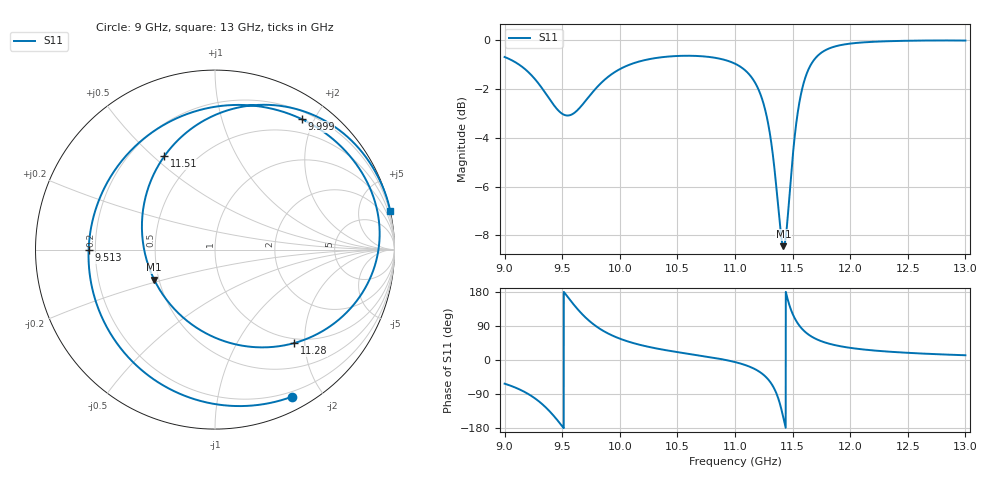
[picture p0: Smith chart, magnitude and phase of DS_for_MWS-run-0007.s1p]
! TOUCHSTONE file generated by CST DESIGN STUDIO
! Date and time: Tue Feb  4 18:27:28 2025
! Project name: C:\Work\MatlabApps\UnitCellOptimizationMatlab\CST\unitcell.cst
! Tree item: Tasks\Sweep1\SPara1\S-Parameters
! Header version: 2024
! Port assignment regex: !\s*Touchstone port\s*([0-9]+)\s*=\s*(CST MWS port|CST DES external port|CST DES block port)\s*(.+)\s* \(\"(.*)\"\)(\s*mode\s*([0-9]+))?.*
! Touchstone port assignment:
! Touchstone port 1 = CST DES external port 1 ("")
# GHz S MA R 50
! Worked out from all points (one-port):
!   4001 points, 9 GHz to 13 GHz, reference 50 ohm
!   lowest |S11| = -8.5 dB at 11.42 GHz (marker M1), VSWR 2.22, Z = 23.5 - j9.19 ohm
!   |S11| at or under -10 dB: nowhere
!   S11 on the Smith chart (normalised r, x): 9 GHz: 0.14, -1.64; 9.513 GHz: 0.17, -0.00; 9.999 GHz: 0.30, +1.83; 11.28 GHz: 0.91, -1.78; 11.51 GHz: 0.34, +0.54; 13 GHz: 0.02, +9.12
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9  0.9248 -62.5
9.171  0.8756 -83.9
9.288  0.8194 -106.8
9.388  0.7591 -134.5
9.5  0.7069 -174.8
9.513  0.7041 -179.9
9.626  0.7167 136.8
9.724  0.7624 106.1
9.837  0.8175 80.4
9.999  0.8728 56.5
10  0.8731 56.3
10.213  0.9108 37.2
10.5  0.9292 20.8
11  0.8959 -5.4
11.171  0.8214 -23.8
11.284  0.6821 -49.8
11.359  0.499 -87.7
11.421  0.378 -153.7
11.459  0.4375 158.3
11.5  0.5746 122.0
11.505  0.5916 118.5
11.542  0.7043 97.9
11.582  0.7936 82.2
11.703  0.9225 55.5
11.826  0.9647 42.3
12  0.9852 32.1
12.5  0.9985 18.9
13  0.9995 12.5
